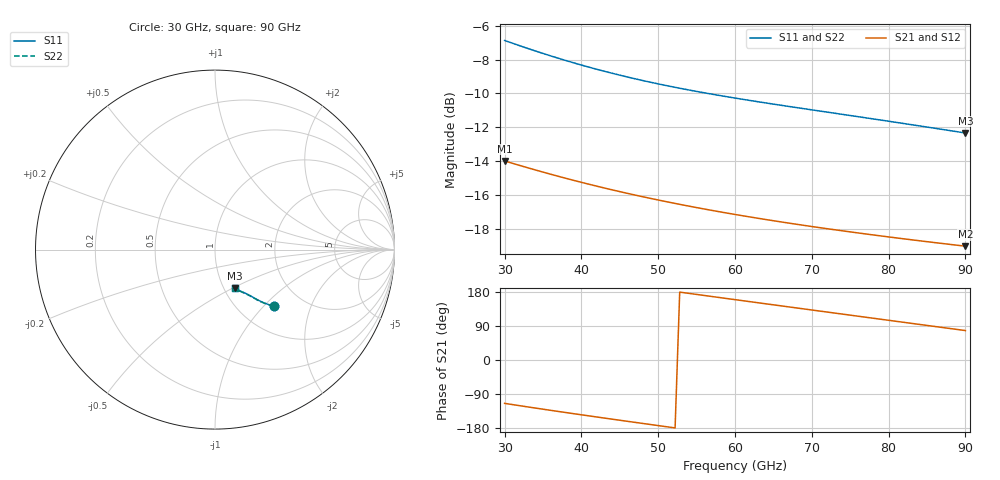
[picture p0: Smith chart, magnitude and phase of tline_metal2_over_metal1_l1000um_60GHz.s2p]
#  GHZ S DB R 50
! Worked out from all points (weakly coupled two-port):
!   101 points, 30 GHz to 90 GHz, reference 50 ohm
!   highest |S21| = -13.98 dB at 30 GHz (marker M1); lowest = -19.0 dB at 90 GHz (marker M2)
!   lowest |S11| = -12.3 dB at 90 GHz (marker M3), VSWR 1.64, Z = 56.4 - j25.7 ohm
!   |S11| at or under -10 dB: 56.45 GHz to end of sweep
!   |S22| runs from -12.3 to -6.9 dB; largest |S21 - S12| = 0
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30  -6.88 -43.8  -13.98 -114.4  -13.98 -114.4  -6.87 -43.9
32.4  -7.25 -45.2  -14.31 -121.9  -14.31 -121.9  -7.25 -45.4
34.8  -7.61 -46.5  -14.62 -129.2  -14.62 -129.2  -7.61 -46.7
37.2  -7.95 -47.6  -14.91 -136.4  -14.91 -136.4  -7.95 -47.8
40.2  -8.35 -48.7  -15.27 -145.2  -15.27 -145.2  -8.35 -49.0
42.6  -8.65 -49.5  -15.54 -152.1  -15.54 -152.1  -8.64 -49.8
45  -8.92 -50.3  -15.79 -159.0  -15.79 -159.0  -8.92 -50.5
47.4  -9.18 -50.9  -16.04 -165.8  -16.04 -165.8  -9.17 -51.2
50.4  -9.48 -51.7  -16.32 -174.2  -16.32 -174.2  -9.47 -52.0
52.8  -9.69 -52.3  -16.54 179.1  -16.54 179.1  -9.69 -52.6
55.2  -9.90 -52.9  -16.75 172.5  -16.75 172.5  -9.89 -53.2
60  -10.27 -54.1  -17.14 159.3  -17.14 159.3  -10.27 -54.5
63  -10.49 -54.9  -17.36 151.1  -17.36 151.1  -10.48 -55.3
65.4  -10.66 -55.5  -17.54 144.5  -17.54 144.5  -10.65 -55.9
70.2  -10.98 -56.9  -17.86 131.4  -17.86 131.4  -10.97 -57.3
73.2  -11.18 -57.8  -18.06 123.3  -18.06 123.3  -11.17 -58.3
75.6  -11.34 -58.5  -18.20 116.7  -18.20 116.7  -11.33 -59.0
78  -11.50 -59.2  -18.35 110.2  -18.35 110.2  -11.50 -59.7
80.4  -11.67 -59.9  -18.49 103.7  -18.49 103.7  -11.66 -60.4
82.8  -11.83 -60.6  -18.62 97.2  -18.62 97.2  -11.82 -61.1
85.2  -12.00 -61.3  -18.76 90.7  -18.76 90.7  -11.99 -61.8
90  -12.33 -62.5  -19.01 77.7  -19.01 77.7  -12.33 -63.1
